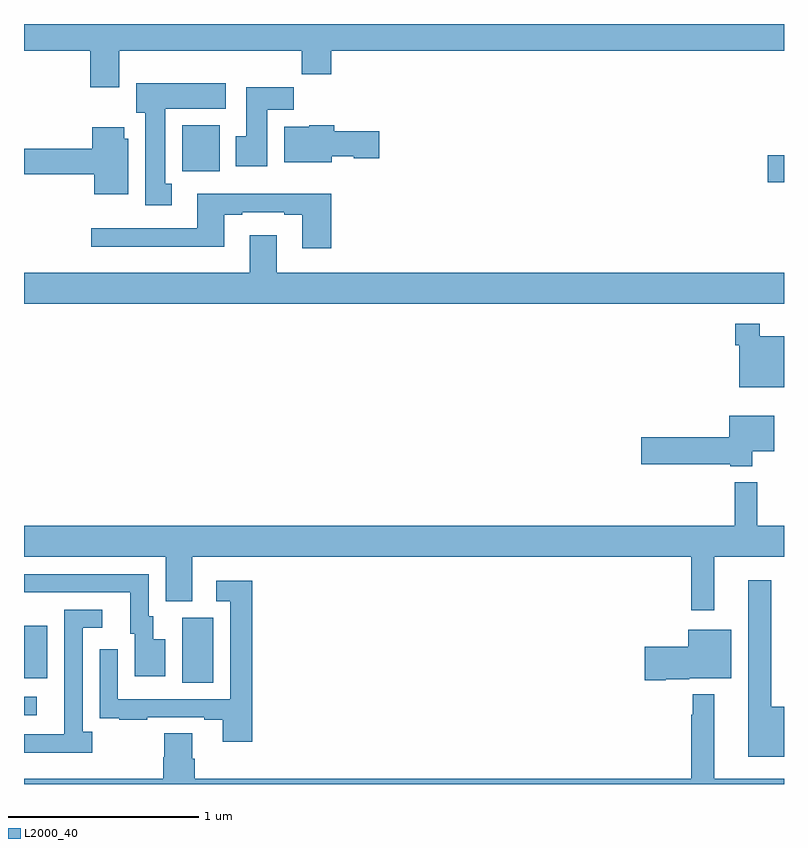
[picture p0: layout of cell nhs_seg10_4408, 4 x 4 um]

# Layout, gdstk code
import gdstk
lib = gdstk.Library(unit=1e-6, precision=1e-09)
def R(c, l, rs):  # rectangles x0, y0, x1, y1
    for r in rs: c.add(gdstk.rectangle(r[:2], r[2:], *l))
def P(c, l, *ps):  # polygons
    for p in ps: c.add(gdstk.Polygon(p, *l))
L2000_40 = (2000, 40)

nhs_seg10_4408 = lib.new_cell('nhs_seg10_4408')
R(nhs_seg10_4408, L2000_40, [(361,1252.863,361.066,1252.959), (361.832,1253.032,361.996,1253.376), (361,1253.057,361.123,1253.332), (364.914,1255.666,365,1255.808), (361.832,1255.724,362.029,1255.966)])
P(nhs_seg10_4408, L2000_40, [(361.501,1256.36),(362.461,1256.36),(362.461,1256.236),(362.618,1256.236),(362.618,1256.36),(365,1256.36),(365,1256.5),(361,1256.5),(361,1256.36),(361.349,1256.36),(361.349,1256.166),(361.501,1256.166)],
  [(361.777,1255.658),(361.744,1255.658),(361.744,1256.054),(362.062,1256.054),(362.062,1256.188),(361.592,1256.188),(361.592,1256.034),(361.637,1256.034),(361.637,1255.545),(361.777,1255.545)],
  [(362.281,1256.048),(362.42,1256.048),(362.42,1256.167),(362.171,1256.167),(362.171,1255.908),(362.114,1255.908),(362.114,1255.752),(362.281,1255.752)],
  [(362.62,1255.805),(362.736,1255.805),(362.736,1255.793),(362.869,1255.793),(362.869,1255.935),(362.633,1255.935),(362.633,1255.966),(362.502,1255.966),(362.502,1255.96),(362.369,1255.96),(362.369,1255.772),(362.62,1255.772)],
  [(361.549,1255.896),(361.528,1255.896),(361.528,1255.957),(361.358,1255.957),(361.358,1255.844),(361,1255.844),(361,1255.708),(361.37,1255.708),(361.37,1255.604),(361.549,1255.604)],
  [(362.618,1255.606),(361.913,1255.606),(361.913,1255.425),(361.353,1255.425),(361.353,1255.328),(362.053,1255.328),(362.053,1255.497),(362.149,1255.497),(362.149,1255.509),(362.369,1255.509),(362.369,1255.497),(362.465,1255.497),(362.465,1255.32),(362.618,1255.32)],
  [(365,1255.192),(362.329,1255.192),(362.329,1255.387),(362.189,1255.387),(362.189,1255.192),(361,1255.192),(361,1255.028),(365,1255.028)],
  [(365,1254.856),(364.873,1254.856),(364.873,1254.922),(364.744,1254.922),(364.744,1254.809),(364.764,1254.809),(364.764,1254.587),(365,1254.587)],
  [(364.834,1254.251),(364.948,1254.251),(364.948,1254.439),(364.712,1254.439),(364.712,1254.326),(364.248,1254.326),(364.248,1254.184),(364.716,1254.184),(364.716,1254.173),(364.834,1254.173)],
  [(364.633,1253.696),(365,1253.696),(365,1253.86),(364.859,1253.86),(364.859,1254.088),(364.741,1254.088),(364.741,1253.86),(361,1253.86),(361,1253.696),(361.745,1253.696),(361.745,1253.461),(361.885,1253.461),(361.885,1253.696),(364.512,1253.696),(364.512,1253.415),(364.633,1253.415)],
  [(361.744,1253.263),(361.681,1253.263),(361.681,1253.382),(361.656,1253.382),(361.656,1253.604),(361,1253.604),(361,1253.508),(361.559,1253.508),(361.559,1253.292),(361.583,1253.292),(361.583,1253.067),(361.744,1253.067)],
  [(365,1252.906),(364.933,1252.906),(364.933,1253.572),(364.811,1253.572),(364.811,1252.643),(365,1252.643)],
  [(362.201,1253.569),(362.013,1253.569),(362.013,1253.463),(362.085,1253.463),(362.085,1252.947),(361.494,1252.947),(361.494,1253.209),(361.398,1253.209),(361.398,1252.954),(361.399,1252.954),(361.399,1252.845),(361.501,1252.845),(361.501,1252.839),(361.649,1252.839),(361.649,1252.851),(361.949,1252.851),(361.949,1252.839),(362.045,1252.839),(362.045,1252.722),(362.201,1252.722)],
  [(361.36,1252.774),(361.308,1252.774),(361.308,1253.322),(361.411,1253.322),(361.411,1253.418),(361.212,1253.418),(361.212,1252.961),(361.211,1252.961),(361.211,1252.761),(361,1252.761),(361,1252.664),(361.36,1252.664)],
  [(364.378,1253.051),(364.5,1253.051),(364.5,1253.057),(364.723,1253.057),(364.723,1253.311),(364.496,1253.311),(364.496,1253.223),(364.266,1253.223),(364.266,1253.045),(364.378,1253.045)],
  [(365,1252.528),(364.633,1252.528),(364.633,1252.972),(364.519,1252.972),(364.519,1252.865),(364.512,1252.865),(364.512,1252.528),(361.898,1252.528),(361.898,1252.634),(361.885,1252.634),(361.885,1252.766),(361.738,1252.766),(361.738,1252.641),(361.733,1252.641),(361.733,1252.528),(361,1252.528),(361,1252.5),(365,1252.5)])

lib.write_gds('nhs_seg10_4408.gds')
